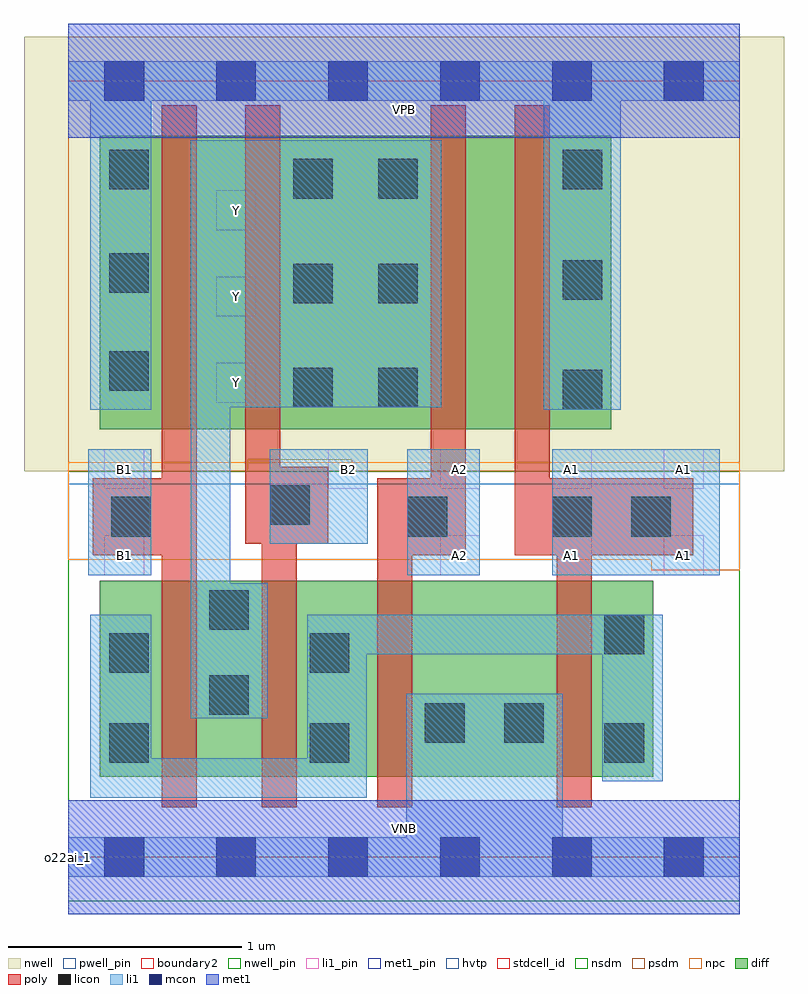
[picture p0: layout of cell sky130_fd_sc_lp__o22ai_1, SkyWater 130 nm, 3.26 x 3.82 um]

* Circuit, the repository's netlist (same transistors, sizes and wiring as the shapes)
* Copyright 2020 The SkyWater PDK Authors
*
* Licensed under the Apache License, Version 2.0 (the "License");
* you may not use this file except in compliance with the License.
* You may obtain a copy of the License at
*
*     https://www.apache.org/licenses/LICENSE-2.0
*
* Unless required by applicable law or agreed to in writing, software
* distributed under the License is distributed on an "AS IS" BASIS,
* WITHOUT WARRANTIES OR CONDITIONS OF ANY KIND, either express or implied.
* See the License for the specific language governing permissions and
* limitations under the License.
*
* SPDX-License-Identifier: Apache-2.0

.SUBCKT sky130_fd_sc_lp__o22ai_1 A1 A2 B1 B2 VGND VNB VPB VPWR Y
*.PININFO A1:I A2:I B1:I B2:I VGND:I VNB:I VPB:I VPWR:I Y:O
MMPA0 VPWR A1 sndA1 VPB sky130_fd_pr__pfet_01v8_hvt m=1 w=1.26U l=0.15U mult=1
+ sa=0.265 sb=0.265 sd=0.28 area=0.063 perim=1.14
MMPA1 sndA1 A2 Y VPB sky130_fd_pr__pfet_01v8_hvt m=1 w=1.26U l=0.15U mult=1 sa=0.265
+ sb=0.265 sd=0.28 area=0.063 perim=1.14
MMPB0 VPWR B1 sndB1 VPB sky130_fd_pr__pfet_01v8_hvt m=1 w=1.26U l=0.15U mult=1
+ sa=0.265 sb=0.265 sd=0.28 area=0.063 perim=1.14
MMPB1 sndB1 B2 Y VPB sky130_fd_pr__pfet_01v8_hvt m=1 w=1.26U l=0.15U mult=1 sa=0.265
+ sb=0.265 sd=0.28 area=0.063 perim=1.14
MMNA0 pndA A1 VGND VNB sky130_fd_pr__nfet_01v8 m=1 w=0.84U l=0.15U mult=1 sa=0.265
+ sb=0.265 sd=0.28 area=0.063 perim=1.14
MMNA1 pndA A2 VGND VNB sky130_fd_pr__nfet_01v8 m=1 w=0.84U l=0.15U mult=1 sa=0.265
+ sb=0.265 sd=0.28 area=0.063 perim=1.14
MMNB0 Y B1 pndA VNB sky130_fd_pr__nfet_01v8 m=1 w=0.84U l=0.15U mult=1 sa=0.265
+ sb=0.265 sd=0.28 area=0.063 perim=1.14
MMNB1 Y B2 pndA VNB sky130_fd_pr__nfet_01v8 m=1 w=0.84U l=0.15U mult=1 sa=0.265
+ sb=0.265 sd=0.28 area=0.063 perim=1.14
.ENDS sky130_fd_sc_lp__o22ai_1

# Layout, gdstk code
import gdstk
lib = gdstk.Library(unit=1e-6, precision=1e-09)
def R(c, l, rs):  # rectangles x0, y0, x1, y1
    for r in rs: c.add(gdstk.rectangle(r[:2], r[2:], *l))
def A(c, l, x, y, w, h, nx, ny, dx, dy):  # array of equal rectangles
    R(c, l, [(x+i*dx, y+j*dy, x+i*dx+w, y+j*dy+h) for i in range(nx) for j in range(ny)])
def P(c, l, *ps):  # polygons
    for p in ps: c.add(gdstk.Polygon(p, *l))
nwell_pin = (64, 16)
nwell = (64, 20)
diff = (65, 20)
poly = (66, 20)
licon = (66, 44)
li1_pin = (67, 16)
li1 = (67, 20)
mcon = (67, 44)
met1_pin = (68, 16)
met1 = (68, 20)
hvtp = (78, 44)
stdcell_id = (81, 4)
nsdm = (93, 44)
psdm = (94, 20)
npc = (95, 20)
pwell_pin = (122, 16)
boundary2 = (236, 0)

sky130_fd_sc_lp__o22ai_1 = lib.new_cell('sky130_fd_sc_lp__o22ai_1')
R(sky130_fd_sc_lp__o22ai_1, nwell_pin, [(0,3.085,2.88,3.33)])
R(sky130_fd_sc_lp__o22ai_1, nwell, [(-0.19,1.655,3.07,3.52)])
R(sky130_fd_sc_lp__o22ai_1, diff, [(0.135,0.345,2.51,1.185), (0.135,1.835,2.33,3.095)])
R(sky130_fd_sc_lp__o22ai_1, poly, [(2.095,0.215,2.245,1.295)])
P(sky130_fd_sc_lp__o22ai_1, poly, [(1.115,1.675),(0.91,1.675),(0.91,3.225),(0.76,3.225),(0.76,1.345),(0.83,1.345),(0.83,0.215),(0.98,0.215),(0.98,1.345),(1.115,1.345)],
  [(1.705,3.225),(1.555,3.225),(1.555,1.625),(1.325,1.625),(1.325,0.215),(1.475,0.215),(1.475,1.295),(1.705,1.295)],
  [(2.68,1.625),(2.065,1.625),(2.065,3.225),(1.915,3.225),(1.915,1.295),(2.68,1.295)],
  [(0.55,3.225),(0.4,3.225),(0.4,1.625),(0.105,1.625),(0.105,1.295),(0.4,1.295),(0.4,0.215),(0.55,0.215)])
R(sky130_fd_sc_lp__o22ai_1, licon, [(0.175,0.405,0.345,0.575), (1.035,0.405,1.205,0.575), (2.3,0.405,2.47,0.575), (1.53,0.49,1.7,0.66), (1.87,0.49,2.04,0.66), (0.605,0.61,0.775,0.78), (0.175,0.79,0.345,0.96), (1.035,0.79,1.205,0.96), (2.3,0.87,2.47,1.04), (0.605,0.975,0.775,1.145), (0.185,1.375,0.355,1.545), (1.455,1.375,1.625,1.545), (2.075,1.375,2.245,1.545), (2.415,1.375,2.585,1.545), (0.865,1.425,1.035,1.595), (2.12,1.92,2.29,2.09), (0.965,1.93,1.135,2.1), (1.33,1.93,1.5,2.1), (0.175,2,0.345,2.17), (0.965,2.375,1.135,2.545), (1.33,2.375,1.5,2.545), (2.12,2.39,2.29,2.56), (0.175,2.42,0.345,2.59), (0.965,2.825,1.135,2.995), (1.33,2.825,1.5,2.995), (0.175,2.865,0.345,3.035), (2.12,2.865,2.29,3.035)])
A(sky130_fd_sc_lp__o22ai_1, li1_pin, 1.595, 1.21, 0.17, 0.17, 3, 1, 0.48, 0)
A(sky130_fd_sc_lp__o22ai_1, li1_pin, 1.115, 1.58, 0.17, 0.17, 4, 1, 0.48, 0)
A(sky130_fd_sc_lp__o22ai_1, li1_pin, 0.635, 1.95, 0.17, 0.17, 1, 3, 0, 0.37)
R(sky130_fd_sc_lp__o22ai_1, li1_pin, [(0.155,1.21,0.325,1.38), (0.155,1.58,0.325,1.75)])
R(sky130_fd_sc_lp__o22ai_1, li1, [(0.085,1.21,0.355,1.75), (1.455,1.21,1.765,1.75), (2.075,1.21,2.795,1.75), (0.865,1.345,1.285,1.75)])
P(sky130_fd_sc_lp__o22ai_1, li1, [(1.6,3.075),(0.525,3.075),(0.525,0.595),(0.855,0.595),(0.855,1.175),(0.695,1.175),(0.695,1.93),(1.6,1.93)],
  [(2.55,1.04),(1.025,1.04),(1.025,0.425),(0.355,0.425),(0.355,1.04),(0.095,1.04),(0.095,0.255),(1.28,0.255),(1.28,0.87),(2.29,0.87),(2.29,0.325),(2.55,0.325)],
  [(2.88,3.415),(0,3.415),(0,3.245),(0.095,3.245),(0.095,1.92),(0.355,1.92),(0.355,3.245),(2.04,3.245),(2.04,1.92),(2.37,1.92),(2.37,3.245),(2.88,3.245)],
  [(2.88,0.085),(2.12,0.085),(2.12,0.7),(1.45,0.7),(1.45,0.085),(0,0.085),(0,-0.085),(2.88,-0.085)])
A(sky130_fd_sc_lp__o22ai_1, mcon, 0.155, -0.085, 0.17, 0.17, 6, 2, 0.48, 3.33)
R(sky130_fd_sc_lp__o22ai_1, met1_pin, [(0,0,2.88,0.245), (0,3.085,2.88,3.33)])
R(sky130_fd_sc_lp__o22ai_1, met1, [(0,-0.245,2.88,0.245), (0,3.085,2.88,3.575)])
R(sky130_fd_sc_lp__o22ai_1, hvtp, [(0,1.6,2.88,3.33)])
R(sky130_fd_sc_lp__o22ai_1, stdcell_id, [(0,0,2.88,3.33)])
R(sky130_fd_sc_lp__o22ai_1, nsdm, [(0,-0.19,2.88,1.655)])
P(sky130_fd_sc_lp__o22ai_1, psdm, [(2.88,3.52),(0,3.52),(0,1.655),(0.77,1.655),(0.77,1.705),(1.215,1.705),(1.215,1.655),(2.88,1.655)])
P(sky130_fd_sc_lp__o22ai_1, npc, [(2.88,1.695),(0,1.695),(0,1.275),(2.5,1.275),(2.5,1.23),(2.88,1.23)])
R(sky130_fd_sc_lp__o22ai_1, pwell_pin, [(0,0,2.88,0.245)])
R(sky130_fd_sc_lp__o22ai_1, boundary2, [(0,0,2.88,3.33)])
sky130_fd_sc_lp__o22ai_1.add(gdstk.Label('VNB', (1.44,0.123), layer=64, texttype=59))
sky130_fd_sc_lp__o22ai_1.add(gdstk.Label('VPB', (1.44,3.208), layer=64, texttype=5))
sky130_fd_sc_lp__o22ai_1.add(gdstk.Label('o22ai_1', (0,0), layer=83, texttype=44))
sky130_fd_sc_lp__o22ai_1.add(gdstk.Label('VPWR', (1.44,3.208), layer=68, texttype=5))
sky130_fd_sc_lp__o22ai_1.add(gdstk.Label('VGND', (1.44,0.123), layer=68, texttype=5))
sky130_fd_sc_lp__o22ai_1.add(gdstk.Label('A1', (2.16,1.295), layer=67, texttype=5))
sky130_fd_sc_lp__o22ai_1.add(gdstk.Label('A1', (2.16,1.665), layer=67, texttype=5))
sky130_fd_sc_lp__o22ai_1.add(gdstk.Label('A1', (2.64,1.665), layer=67, texttype=5))
sky130_fd_sc_lp__o22ai_1.add(gdstk.Label('A1', (2.64,1.295), layer=67, texttype=5))
sky130_fd_sc_lp__o22ai_1.add(gdstk.Label('A2', (1.68,1.295), layer=67, texttype=5))
sky130_fd_sc_lp__o22ai_1.add(gdstk.Label('A2', (1.68,1.665), layer=67, texttype=5))
sky130_fd_sc_lp__o22ai_1.add(gdstk.Label('Y', (0.72,2.035), layer=67, texttype=5))
sky130_fd_sc_lp__o22ai_1.add(gdstk.Label('Y', (0.72,2.405), layer=67, texttype=5))
sky130_fd_sc_lp__o22ai_1.add(gdstk.Label('Y', (0.72,2.775), layer=67, texttype=5))
sky130_fd_sc_lp__o22ai_1.add(gdstk.Label('B1', (0.24,1.295), layer=67, texttype=5))
sky130_fd_sc_lp__o22ai_1.add(gdstk.Label('B1', (0.24,1.665), layer=67, texttype=5))
sky130_fd_sc_lp__o22ai_1.add(gdstk.Label('B2', (1.2,1.665), layer=67, texttype=5))

lib.write_gds('sky130_fd_sc_lp__o22ai_1.gds')
